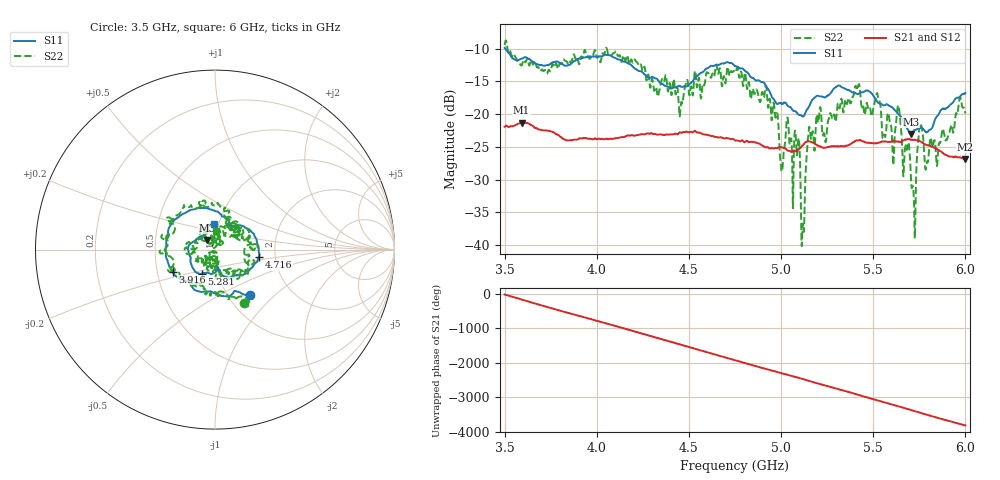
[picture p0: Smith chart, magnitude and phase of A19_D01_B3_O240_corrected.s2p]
! Created with skrf 1.9.0 (http://scikit-rf.org).
# Hz S RI R 50.0
!freq ReS11 ImS11 ReS21 ImS21 ReS12 ImS12 ReS22 ImS22
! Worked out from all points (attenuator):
!   1601 points, 3.5 GHz to 6 GHz, reference 50 ohm
!   highest |S21| = -21.29 dB at 3.592 GHz (marker M1); lowest = -26.9 dB at 6 GHz (marker M2)
!   lowest |S11| = -23.0 dB at 5.703 GHz (marker M3), VSWR 1.15, Z = 45.3 + j4.85 ohm
!   |S11| at or under -10 dB: 3.503 GHz to end of sweep
!   |S22| runs from -40.2 to -8.8 dB; largest |S21 - S12| = 0.0012
!   S11 on the Smith chart (normalised r, x): 3.5 GHz: 1.26, -0.71; 3.916 GHz: 0.60, -0.16; 4.716 GHz: 1.64, -0.15; 5.281 GHz: 0.83, -0.23; 6 GHz: 0.95, +0.28
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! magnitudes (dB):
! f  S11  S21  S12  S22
! 3.5 GHz  -9.9  -21.9  -21.9  -9.4
! 3.592 GHz  -11.5  -21.3  -21.3  -12.6
! 3.916 GHz  -11.5  -23.7  -23.7  -11.2
! 3.917 GHz  -11.5  -23.7  -23.7  -11.2
! 4.334 GHz  -14.9  -23.1  -23.1  -17.1
! 4.716 GHz  -12.1  -23.7  -23.8  -13.5
! 4.75 GHz  -12.7  -24.0  -24.0  -13.6
! 4.969 GHz  -18.1  -25.2  -25.2  -20.5
! 5.003 GHz  -18.4  -25.1  -25.1  -28.8
! 5.086 GHz  -19.8  -25.6  -25.6  -26.3
! 5.117 GHz  -20.3  -24.8  -24.7  -36.7
! 5.145 GHz  -19.1  -24.2  -24.1  -23.8
! 5.167 GHz  -17.9  -24.3  -24.3  -23.2
! 5.281 GHz  -16.3  -24.9  -24.8  -20.7
! 5.414 GHz  -16.9  -24.0  -24.1  -16.0
! 5.584 GHz  -18.7  -24.2  -24.2  -20.2
! 5.639 GHz  -20.1  -24.2  -24.2  -18.9
! 5.703 GHz  -23.0  -23.9  -23.9  -28.8
! 5.719 GHz  -22.6  -23.9  -23.9  -32.2
! 5.756 GHz  -22.1  -24.2  -24.2  -21.5
! 5.789 GHz  -22.8  -24.7  -24.7  -27.7
! 6 GHz  -16.8  -26.9  -26.8  -19.9
